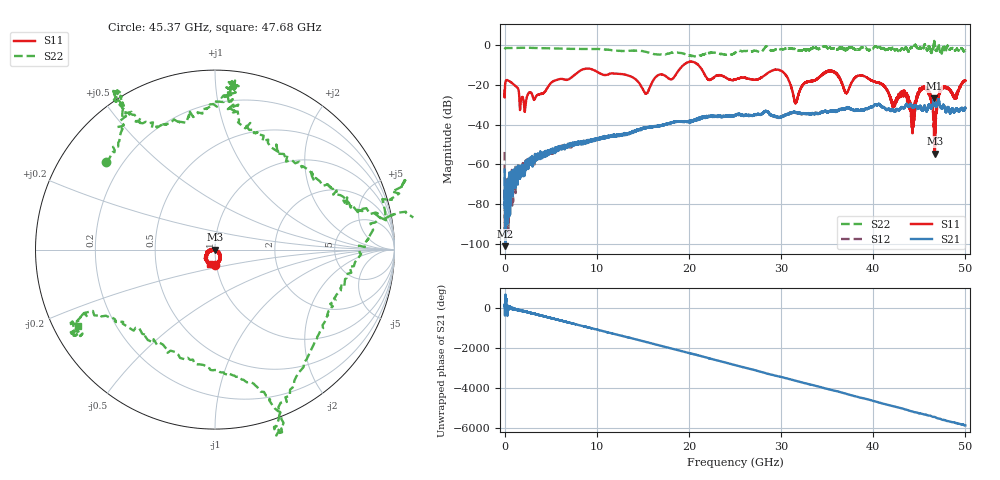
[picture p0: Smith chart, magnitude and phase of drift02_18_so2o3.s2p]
!Created with skrf (http://scikit-rf.org).
# Hz S RI R 50.0
!freq ReS11 ImS11 ReS21 ImS21 ReS12 ImS12 ReS22 ImS22
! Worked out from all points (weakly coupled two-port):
!   10001 points, 300 kHz to 50 GHz, reference 50 ohm
!   highest |S21| = -26.83 dB at 46.61 GHz (marker M1); lowest = -101.3 dB at 90.3 MHz (marker M2)
!   lowest |S11| = -54.6 dB at 46.68 GHz (marker M3), VSWR 1.00, Z = 49.9 - j0.114 ohm
!   |S11| at or under -10 dB: start of sweep to 19.41 GHz; 21 GHz to end of sweep
!   |S22| runs from -5.7 to 2.4 dB; largest |S21 - S12| = 0.0037
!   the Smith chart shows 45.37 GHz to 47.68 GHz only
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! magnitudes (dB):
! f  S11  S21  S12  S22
! 300 kHz  -23.0  -62.7  -53.8  -2.1
! 90.3 MHz  -18.5  -101.3  -82.4  -1.5
! 260.3 MHz  -17.6  -70.9  -80.3  -1.4
! 2.19 GHz  -33.6  -60.5  -61.5  -1.3
! 8.335 GHz  -12.5  -49.0  -49.5  -1.9
! 15.34 GHz  -24.5  -41.7  -41.6  -3.4
! 16.67 GHz  -15.1  -40.8  -40.7  -4.7
! 20.28 GHz  -8.4  -38.2  -38.4  -5.5
! 25 GHz  -17.3  -35.5  -35.4  -3.9
! 29.85 GHz  -12.6  -36.5  -36.5  -2.0
! 31.59 GHz  -29.1  -33.8  -34.0  -2.4
! 33.34 GHz  -18.1  -34.4  -34.3  -1.6
! 35.59 GHz  -13.4  -33.4  -33.2  -1.6
! 37.1 GHz  -24.2  -31.7  -31.6  -2.3
! 38.75 GHz  -15.3  -32.7  -32.7  -1.0
! 41.67 GHz  -24.3  -32.2  -32.3  -1.9
! 44.29 GHz  -38.1  -31.2  -31.3  -1.5
! 45.69 GHz  -21.7  -32.3  -32.1  -0.7
! 46.61 GHz  -39.6  -26.8  -26.8  2.4
! 46.68 GHz  -54.6  -28.4  -28.7  0.1
! 47.47 GHz  -21.9  -31.7  -31.6  -3.3
! 50 GHz  -17.9  -31.8  -31.8  -2.6
